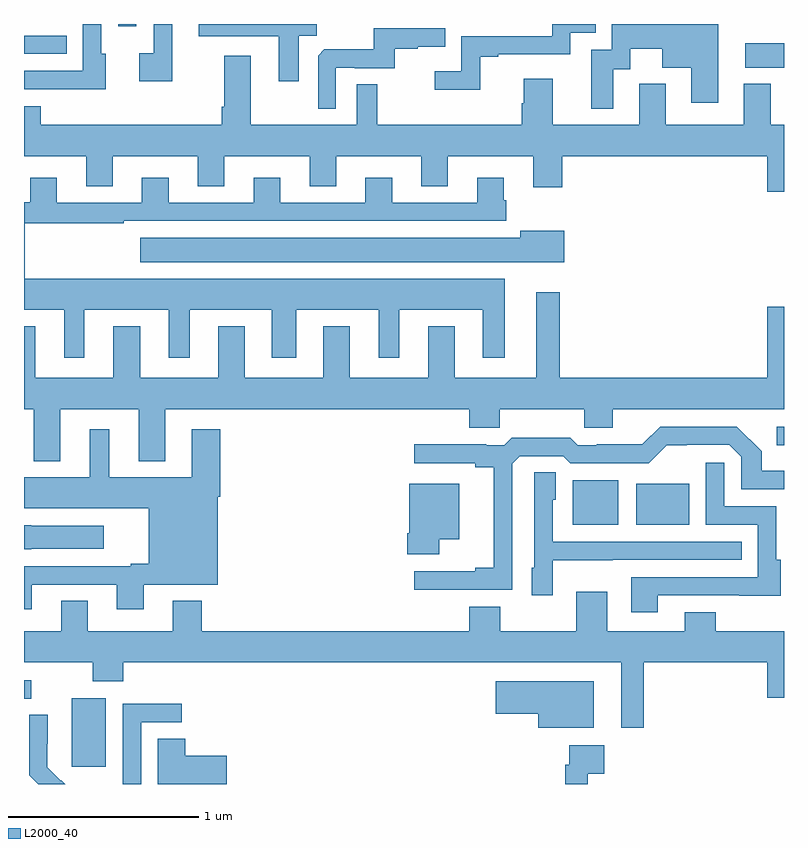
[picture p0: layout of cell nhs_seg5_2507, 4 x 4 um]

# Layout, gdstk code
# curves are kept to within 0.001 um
import gdstk
lib = gdstk.Library(unit=1e-6, precision=1e-09)
def R(c, l, rs):  # rectangles x0, y0, x1, y1
    for r in rs: c.add(gdstk.rectangle(r[:2], r[2:], *l))
def P(c, l, *ps):  # polygons
    for p in ps: c.add(gdstk.Polygon(p, *l))
L2000_40 = (2000, 40)

nhs_seg5_2507 = lib.new_cell('nhs_seg5_2507')
R(nhs_seg5_2507, L2000_40, [(257.252,842.889,257.431,843.25), (257,843.249,257.038,843.345), (259.889,844.163,260.128,844.399), (260.222,844.163,260.5,844.378), (260.961,844.583,261,844.68), (260.796,846.569,261,846.699), (257,846.642,257.225,846.738), (257.496,846.786,257.592,846.799)])
P(nhs_seg5_2507, L2000_40, [(257.779,846.799),(257.682,846.799),(257.682,846.646),(257.607,846.646),(257.607,846.498),(257.779,846.498)],
  [(259.401,846.627),(259.495,846.627),(259.495,846.639),(259.875,846.639),(259.875,846.753),(260.009,846.753),(260.009,846.799),(259.779,846.799),(259.779,846.735),(259.302,846.735),(259.302,846.55),(259.161,846.55),(259.161,846.452),(259.401,846.452)],
  [(257.431,846.642),(257.406,846.642),(257.406,846.799),(257.31,846.799),(257.31,846.552),(257,846.552),(257,846.456),(257.213,846.456),(257.213,846.455),(257.431,846.455)],
  [(258.445,846.736),(258.54,846.736),(258.54,846.799),(257.921,846.799),(257.921,846.734),(258.341,846.734),(258.341,846.498),(258.445,846.498)],
  [(260.101,846.562),(260.191,846.562),(260.191,846.668),(260.36,846.668),(260.36,846.569),(260.513,846.569),(260.513,846.384),(260.653,846.384),(260.653,846.799),(260.094,846.799),(260.094,846.663),(259.985,846.663),(259.985,846.354),(260.101,846.354)],
  [(258.642,846.57),(258.742,846.57),(258.742,846.567),(258.95,846.567),(258.95,846.669),(259.073,846.669),(259.073,846.68),(259.217,846.68),(259.217,846.777),(258.84,846.777),(258.84,846.665),(258.581,846.665),(258.549,846.633),(258.549,846.353),(258.642,846.353)],
  [(258.859,846.482),(258.75,846.482),(258.75,846.268),(258.193,846.268),(258.193,846.631),(258.053,846.631),(258.053,846.364),(258.041,846.364),(258.041,846.268),(257.089,846.268),(257.089,846.367),(257,846.367),(257,846.104),(257.327,846.104),(257.327,845.944),(257.467,845.944),(257.467,846.104),(257.915,846.104),(257.915,845.944),(258.055,845.944),(258.055,846.104),(258.503,846.104),(258.503,845.944),(258.643,845.944),(258.643,846.104),(259.091,846.104),(259.091,845.944),(259.231,845.944),(259.231,846.104),(259.679,846.104),(259.679,845.94),(259.832,845.94),(259.832,846.104),(260.912,846.104),(260.912,845.916),(261,845.916),(261,846.268),(260.929,846.268),(260.929,846.484),(260.789,846.484),(260.789,846.268),(260.377,846.268),(260.377,846.484),(260.237,846.484),(260.237,846.268),(259.783,846.268),(259.783,846.511),(259.631,846.511),(259.631,846.381),(259.619,846.381),(259.619,846.268),(258.859,846.268)],
  [(257.317,845.294),(257.762,845.294),(257.762,845.043),(257.872,845.043),(257.872,845.294),(258.305,845.294),(258.305,845.043),(258.433,845.043),(258.433,845.294),(258.866,845.294),(258.866,845.043),(258.976,845.043),(258.976,845.294),(259.415,845.294),(259.415,845.043),(259.531,845.043),(259.531,845.458),(257.005,845.458),(257.005,845.751),(257.525,845.751),(257.525,845.763),(259.538,845.763),(259.538,845.871),(259.525,845.871),(259.525,845.989),(259.385,845.989),(259.385,845.859),(258.937,845.859),(258.937,845.989),(258.797,845.989),(258.797,845.859),(258.349,845.859),(258.349,845.989),(258.209,845.989),(258.209,845.859),(257.761,845.859),(257.761,845.989),(257.621,845.989),(257.621,845.859),(257.173,845.859),(257.173,845.989),(257.033,845.989),(257.033,845.86),(257,845.86),(257,845.294),(257.213,845.294),(257.213,845.043),(257.317,845.043)],
  [(259.843,845.71),(259.613,845.71),(259.613,845.674),(257.613,845.674),(257.613,845.546),(259.843,845.546)],
  [(257.191,844.772),(257.603,844.772),(257.603,844.499),(257.743,844.499),(257.743,844.772),(259.343,844.772),(259.343,844.674),(259.503,844.674),(259.503,844.772),(259.948,844.772),(259.948,844.674),(260.098,844.674),(260.098,844.772),(261,844.772),(261,845.311),(260.912,845.311),(260.912,844.936),(259.819,844.936),(259.819,845.386),(259.697,845.386),(259.697,844.936),(259.267,844.936),(259.267,845.209),(259.127,845.209),(259.127,844.936),(258.715,844.936),(258.715,845.209),(258.575,845.209),(258.575,844.936),(258.163,844.936),(258.163,845.209),(258.023,845.209),(258.023,844.936),(257.611,844.936),(257.611,845.209),(257.471,845.209),(257.471,844.936),(257.059,844.936),(257.059,845.209),(257,845.209),(257,844.772),(257.051,844.772),(257.051,844.499),(257.191,844.499)],
  [(259.569,844.485),(259.608,844.524),(259.839,844.524),(259.875,844.488),(260.289,844.488),(260.384,844.583),(260.712,844.584),(260.775,844.521),(260.775,844.35),(261,844.35),(261,844.447),(260.883,844.447),(260.883,844.55),(260.752,844.68),(260.349,844.68),(260.255,844.586),(260.014,844.586),(260.014,844.581),(259.914,844.581),(259.875,844.621),(259.567,844.621),(259.527,844.581),(259.433,844.581),(259.433,844.586),(259.053,844.586),(259.053,844.488),(259.376,844.488),(259.376,844.466),(259.472,844.466),(259.472,843.938),(259.376,843.938),(259.376,843.918),(259.053,843.918),(259.053,843.822),(259.569,843.822)],
  [(257.041,843.849),(257.489,843.849),(257.489,843.72),(257.629,843.72),(257.629,843.848),(258.019,843.848),(258.019,844.31),(258.032,844.31),(258.032,844.666),(257.882,844.666),(257.882,844.414),(257.449,844.414),(257.449,844.666),(257.345,844.666),(257.345,844.414),(257,844.414),(257,844.25),(257.657,844.25),(257.657,843.958),(257.561,843.958),(257.561,843.945),(257,843.945),(257,843.72),(257.041,843.72)],
  [(260.335,843.792),(260.765,843.792),(260.765,843.791),(260.983,843.791),(260.983,843.978),(260.958,843.978),(260.958,844.26),(260.685,844.26),(260.685,844.489),(260.589,844.489),(260.589,844.164),(260.862,844.164),(260.862,843.888),(260.195,843.888),(260.195,843.702),(260.335,843.702)],
  [(259.782,843.977),(260.099,843.977),(260.099,843.978),(260.777,843.978),(260.777,844.074),(259.782,844.074),(259.782,844.296),(259.798,844.296),(259.798,844.439),(259.686,844.439),(259.686,843.936),(259.673,843.936),(259.673,843.792),(259.782,843.792)],
  [(259.186,844.088),(259.291,844.088),(259.291,844.378),(259.028,844.378),(259.028,844.12),(259.016,844.12),(259.016,844.008),(259.186,844.008)],
  [(257.037,844.037),(257.419,844.037),(257.419,844.159),(257.037,844.159),(257.037,844.162),(257,844.162),(257,844.034),(257.037,844.034)],
  [(260.261,843.44),(260.912,843.44),(260.912,843.252),(261,843.252),(261,843.604),(260.641,843.604),(260.641,843.703),(260.477,843.703),(260.477,843.604),(260.071,843.604),(260.071,843.811),(259.907,843.811),(259.907,843.604),(259.507,843.604),(259.507,843.733),(259.343,843.733),(259.343,843.604),(257.936,843.604),(257.936,843.763),(257.783,843.763),(257.783,843.604),(257.335,843.604),(257.335,843.764),(257.195,843.764),(257.195,843.604),(257,843.604),(257,843.44),(257.362,843.44),(257.362,843.341),(257.522,843.341),(257.522,843.44),(260.144,843.44),(260.144,843.096),(260.261,843.096)],
  [(259.999,843.34),(259.482,843.34),(259.482,843.17),(259.706,843.17),(259.706,843.095),(259.999,843.095)],
  [(257.616,843.123),(257.83,843.123),(257.83,843.222),(257.52,843.222),(257.52,842.799),(257.616,842.799)],
  [(257.196,842.82),(257.193,842.817),(257.123,842.888),(257.123,843.01),(257.124,843.01),(257.124,843.164),(257.028,843.164),(257.028,842.846),(257.075,842.799),(257.217,842.799)],
  [(258.067,842.948),(257.849,842.948),(257.849,843.038),(257.705,843.038),(257.705,842.799),(258.067,842.799)],
  [(259.967,842.852),(260.053,842.852),(260.053,843.004),(259.869,843.004),(259.869,842.9),(259.849,842.9),(259.849,842.799),(259.967,842.799)])

lib.write_gds('nhs_seg5_2507.gds')
